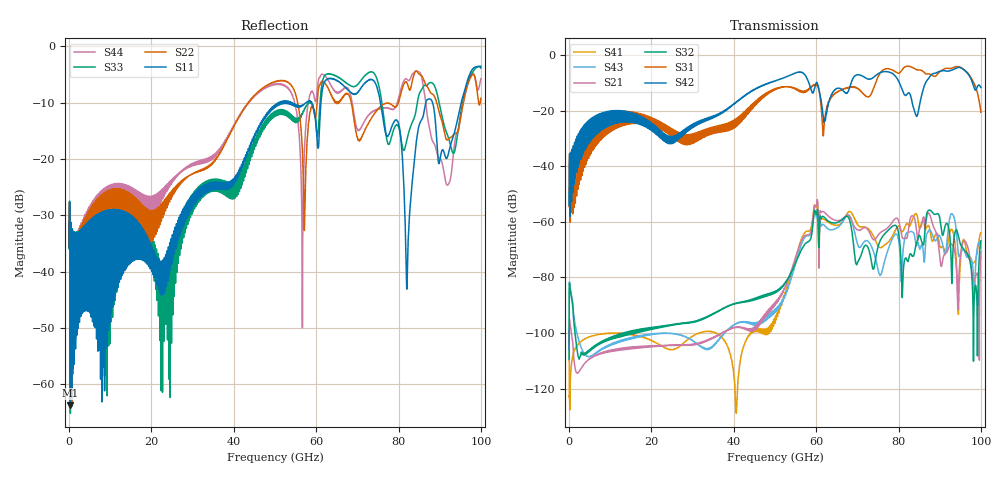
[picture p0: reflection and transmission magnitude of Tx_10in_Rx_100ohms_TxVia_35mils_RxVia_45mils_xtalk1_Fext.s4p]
! Info: Touchstone file created by Circ.  Input file=Tx_10in_Rx_100ohms_TxVia_35mils_RxVia_45mils.circ
# Hz S RI R 50
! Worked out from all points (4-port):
!   10000 points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, 10 MHz to 100 GHz, reference 50 ohm
!   strongest paths, dB at 10 MHz, 25.01 GHz, 50.01 GHz, 75.01 GHz, 100 GHz:
!     S42: -53.9, -29.8, -9.3, -6.8, -11.6
!     S31: -54.5, -28.2, -12.3, -7.8, -20.5
!     S32: -109.4, -97.0, -85.4, -69.1, -66.8
!     S21: -99.3, -104.4, -89.7, -64.9, -70.6
!     S43: -105.5, -100.2, -92.5, -77.0, -69.3
!     S41: -96.7, -106.0, -95.7, -68.5, -63.9
!   lowest |S11| = -63.7 dB at 310 MHz (marker M1), VSWR 1.00, Z = 50 - j0.0606 ohm
!   |S11| at or under -10 dB: start of sweep to 50.95 GHz; 75.63 GHz to 86.6 GHz (10.97 GHz wide, 13.5 % of centre); 88.27 GHz to 95.2 GHz (6.937 GHz wide, 7.56 % of centre)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
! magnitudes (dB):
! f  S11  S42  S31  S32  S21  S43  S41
! 10 MHz  -35.8  -53.9  -54.5  -109.4  -99.3  -105.5  -96.7
! 310 MHz  -63.7  -47.6  -47.8  -84.7  -97.5  -84.1  -116.4
! 23.14 GHz  -37.5  -30.7  -26.6  -97.5  -104.5  -100.0  -105.3
! 63.38 GHz  -5.7  -15.3  -15.8  -60.1  -58.4  -62.8  -60.5
! 79.79 GHz  -13.3  -8.7  -6.5  -62.5  -58.9  -65.1  -61.7
! 82.1 GHz  -41.6  -14.0  -4.0  -73.9  -65.6  -63.8  -60.6
! 100 GHz  -3.8  -11.6  -20.5  -66.8  -70.6  -69.3  -63.9
